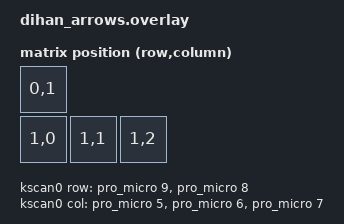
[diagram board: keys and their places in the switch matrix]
#include <dt-bindings/zmk/matrix_transform.h>

/ {
    chosen {
        zmk,kscan = &kscan0;
    };

    kscan0: kscan_0 {
        compatible = "zmk,kscan-gpio-matrix";
        diode-direction = "row2col";
        wakeup-source;

        col-gpios
            = <&pro_micro 5 (GPIO_ACTIVE_HIGH | GPIO_PULL_DOWN)>
            , <&pro_micro 6 (GPIO_ACTIVE_HIGH | GPIO_PULL_DOWN)>
            , <&pro_micro 7 (GPIO_ACTIVE_HIGH | GPIO_PULL_DOWN)>
            ;

        row-gpios
            = <&pro_micro 9 GPIO_ACTIVE_HIGH>
            , <&pro_micro 8 GPIO_ACTIVE_HIGH>
            ;
    };

     default_transform: matrix_transform {
        compatible = "zmk,matrix-transform";
        columns = <3>;
        rows = <2>;

        map = <
          RC(0,1)
          RC(1,0) RC(1,1) RC(1,2)
        >;
    };
};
